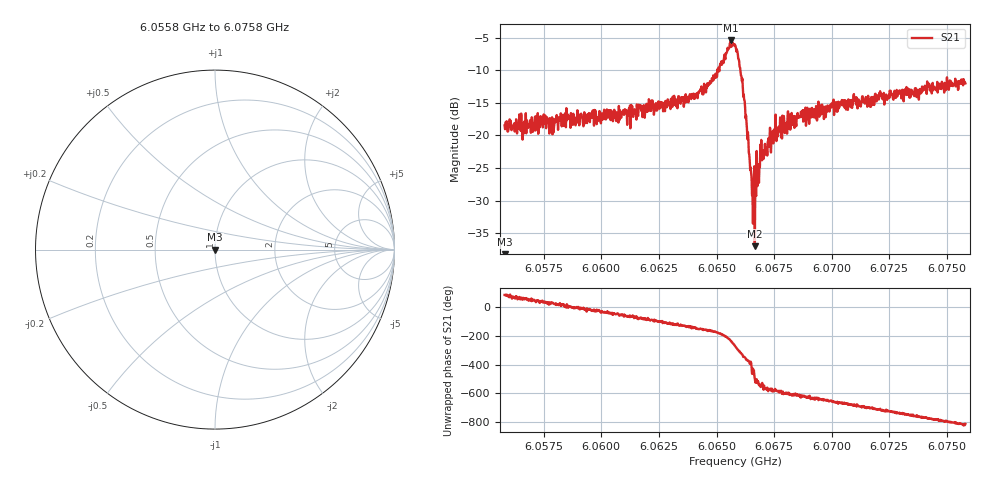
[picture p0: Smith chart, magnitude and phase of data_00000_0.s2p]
! Created with skrf (http://scikit-rf.org).
# Hz S RI R 50.0
!freq ReS11 ImS11 ReS21 ImS21 ReS12 ImS12 ReS22 ImS22
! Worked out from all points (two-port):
!   1001 points, 6.0558 GHz to 6.0758 GHz, reference 50 ohm
!   highest |S21| = -5.44 dB at 6.06562 GHz (marker M1); lowest = -37.0 dB at 6.06666 GHz (marker M2)
!   |S21| within 3 dB of the highest: 6.065316 GHz to 6.065973 GHz (656.8 kHz wide, 0.0108 % of centre)
!   lowest |S11| = - dB at 6.0558 GHz (marker M3), VSWR 1.00, Z = 50 + j0 ohm
!   |S11| at or under -10 dB: start of sweep to end of sweep
!   S12 and S22 are empty: the file has one direction only
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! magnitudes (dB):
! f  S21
! 6.0558 GHz  -18.5
! 6.05784 GHz  -18.5
! 6.05914 GHz  -16.8
! 6.06248 GHz  -14.8
! 6.06448 GHz  -13.1
! 6.06492 GHz  -11.1
! 6.06562 GHz  -5.4
! 6.0658 GHz  -6.1
! 6.06598 GHz  -8.6
! 6.06612 GHz  -11.3
! 6.06628 GHz  -17.0
! 6.0665 GHz  -25.8
! 6.06662 GHz  -26.7
! 6.06666 GHz  -37.0
! 6.06676 GHz  -27.4
! 6.06684 GHz  -27.3
! 6.067 GHz  -22.3
! 6.06748 GHz  -20.3
! 6.06784 GHz  -20.5
! 6.06914 GHz  -15.8
! 6.07248 GHz  -13.8
! 6.0758 GHz  -12.0
